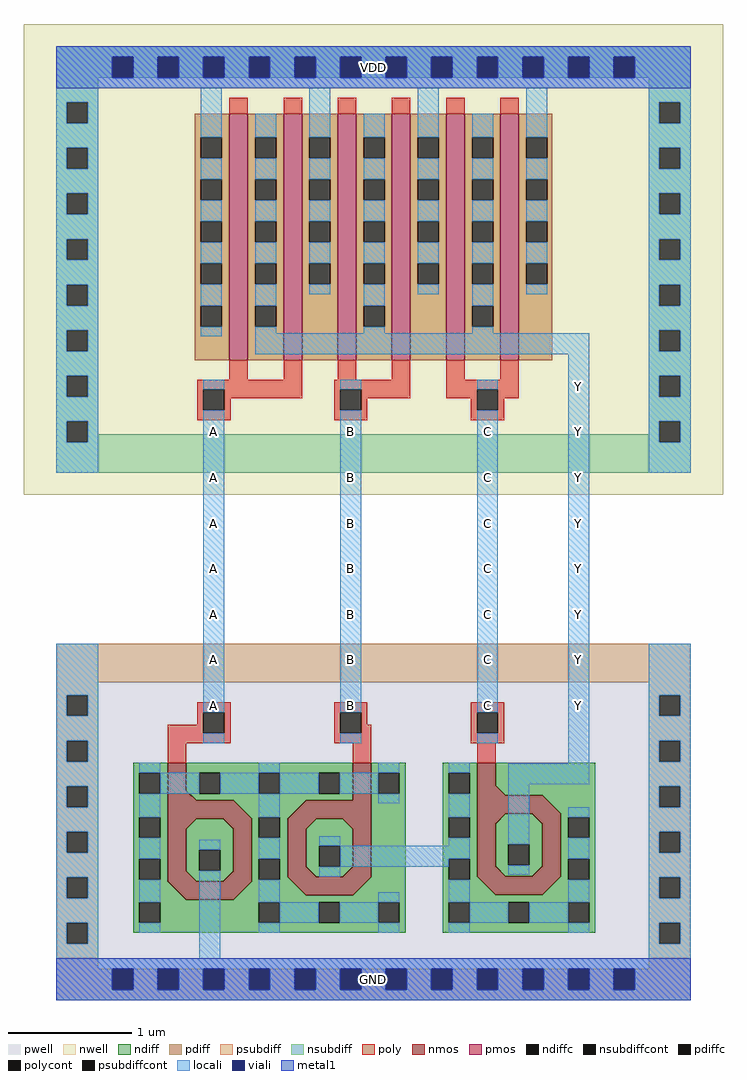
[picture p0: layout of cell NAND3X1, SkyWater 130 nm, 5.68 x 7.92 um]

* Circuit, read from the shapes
.subckt NAND3X1 Y A B C VDD GND
XM1 n1 A GND GND sky130_fd_pr__nfet_01v8 w=2.6 l=0.1488
XM2 n1 B n2 GND sky130_fd_pr__nfet_01v8 w=2.52 l=0.1474
XM3 n2 C Y GND sky130_fd_pr__nfet_01v8 w=2.56 l=0.1468
XM4 Y A VDD VDD sky130_fd_pr__pfet_01v8 w=2 l=0.15 m=2
XM5 Y B VDD VDD sky130_fd_pr__pfet_01v8 w=2 l=0.15 m=2
XM6 Y C VDD VDD sky130_fd_pr__pfet_01v8 w=2 l=0.15 m=2
.ends

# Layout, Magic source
magic
tech sky130A
magscale 1 2
<< nwell >>
rect -87 786 1049 1550
<< pwell >>
rect -34 -34 996 544
<< nmos >>
rect 147 290 177 351
tri 177 290 193 306 sw
rect 447 290 477 351
rect 147 260 253 290
tri 253 260 283 290 sw
rect 147 159 177 260
tri 177 244 193 260 nw
tri 237 244 253 260 ne
tri 177 159 193 175 sw
tri 237 159 253 175 se
rect 253 159 283 260
tri 342 260 372 290 se
rect 372 260 477 290
rect 342 166 372 260
tri 372 244 388 260 nw
tri 431 244 447 260 ne
tri 372 166 388 182 sw
tri 431 166 447 182 se
rect 447 166 477 260
tri 147 129 177 159 ne
rect 177 129 253 159
tri 253 129 283 159 nw
tri 342 136 372 166 ne
rect 372 136 447 166
tri 447 136 477 166 nw
rect 649 298 679 351
tri 679 298 695 314 sw
rect 649 268 755 298
tri 755 268 785 298 sw
rect 649 167 679 268
tri 679 252 695 268 nw
tri 739 252 755 268 ne
tri 679 167 695 183 sw
tri 739 167 755 183 se
rect 755 167 785 268
tri 649 137 679 167 ne
rect 679 137 755 167
tri 755 137 785 167 nw
<< pmos >>
rect 247 1004 277 1404
rect 335 1004 365 1404
rect 423 1004 453 1404
rect 511 1004 541 1404
rect 599 1004 629 1404
rect 687 1004 717 1404
<< ndiff >>
rect 91 335 147 351
rect 91 301 101 335
rect 135 301 147 335
rect 91 263 147 301
rect 177 335 447 351
rect 177 306 198 335
tri 177 290 193 306 ne
rect 193 301 198 306
rect 232 301 295 335
rect 329 301 392 335
rect 426 301 447 335
rect 193 290 447 301
rect 477 335 533 351
rect 477 301 489 335
rect 523 301 533 335
rect 91 229 101 263
rect 135 229 147 263
tri 253 260 283 290 ne
rect 283 263 342 290
rect 91 195 147 229
rect 91 161 101 195
rect 135 161 147 195
rect 91 129 147 161
tri 177 244 193 260 se
rect 193 244 237 260
tri 237 244 253 260 sw
rect 177 210 253 244
rect 177 176 198 210
rect 232 176 253 210
rect 177 175 253 176
tri 177 159 193 175 ne
rect 193 159 237 175
tri 237 159 253 175 nw
rect 283 229 295 263
rect 329 229 342 263
tri 342 260 372 290 nw
rect 283 195 342 229
rect 283 161 295 195
rect 329 161 342 195
tri 372 244 388 260 se
rect 388 244 431 260
tri 431 244 447 260 sw
rect 372 216 447 244
rect 372 182 393 216
rect 427 182 447 216
tri 372 166 388 182 ne
rect 388 166 431 182
tri 431 166 447 182 nw
tri 147 129 177 159 sw
tri 253 129 283 159 se
rect 283 136 342 161
tri 342 136 372 166 sw
tri 447 136 477 166 se
rect 477 136 533 301
rect 283 129 533 136
rect 91 125 533 129
rect 91 91 101 125
rect 135 91 295 125
rect 329 91 392 125
rect 426 91 489 125
rect 523 91 533 125
rect 91 75 533 91
rect 593 335 649 351
rect 593 301 603 335
rect 637 301 649 335
rect 593 263 649 301
rect 679 314 841 351
tri 679 298 695 314 ne
rect 695 298 841 314
tri 755 268 785 298 ne
rect 593 229 603 263
rect 637 229 649 263
rect 593 195 649 229
rect 593 161 603 195
rect 637 161 649 195
tri 679 252 695 268 se
rect 695 252 739 268
tri 739 252 755 268 sw
rect 679 219 755 252
rect 679 185 700 219
rect 734 185 755 219
rect 679 183 755 185
tri 679 167 695 183 ne
rect 695 167 739 183
tri 739 167 755 183 nw
rect 785 263 841 298
rect 785 229 797 263
rect 831 229 841 263
rect 785 195 841 229
rect 593 137 649 161
tri 649 137 679 167 sw
tri 755 137 785 167 se
rect 785 161 797 195
rect 831 161 841 195
rect 785 137 841 161
rect 593 125 841 137
rect 593 91 603 125
rect 637 91 700 125
rect 734 91 797 125
rect 831 91 841 125
rect 593 75 841 91
<< pdiff >>
rect 191 1366 247 1404
rect 191 1332 201 1366
rect 235 1332 247 1366
rect 191 1298 247 1332
rect 191 1264 201 1298
rect 235 1264 247 1298
rect 191 1230 247 1264
rect 191 1196 201 1230
rect 235 1196 247 1230
rect 191 1162 247 1196
rect 191 1128 201 1162
rect 235 1128 247 1162
rect 191 1093 247 1128
rect 191 1059 201 1093
rect 235 1059 247 1093
rect 191 1004 247 1059
rect 277 1366 335 1404
rect 277 1332 289 1366
rect 323 1332 335 1366
rect 277 1298 335 1332
rect 277 1264 289 1298
rect 323 1264 335 1298
rect 277 1230 335 1264
rect 277 1196 289 1230
rect 323 1196 335 1230
rect 277 1162 335 1196
rect 277 1128 289 1162
rect 323 1128 335 1162
rect 277 1093 335 1128
rect 277 1059 289 1093
rect 323 1059 335 1093
rect 277 1004 335 1059
rect 365 1366 423 1404
rect 365 1332 377 1366
rect 411 1332 423 1366
rect 365 1298 423 1332
rect 365 1264 377 1298
rect 411 1264 423 1298
rect 365 1230 423 1264
rect 365 1196 377 1230
rect 411 1196 423 1230
rect 365 1162 423 1196
rect 365 1128 377 1162
rect 411 1128 423 1162
rect 365 1004 423 1128
rect 453 1366 511 1404
rect 453 1332 465 1366
rect 499 1332 511 1366
rect 453 1298 511 1332
rect 453 1264 465 1298
rect 499 1264 511 1298
rect 453 1230 511 1264
rect 453 1196 465 1230
rect 499 1196 511 1230
rect 453 1162 511 1196
rect 453 1128 465 1162
rect 499 1128 511 1162
rect 453 1093 511 1128
rect 453 1059 465 1093
rect 499 1059 511 1093
rect 453 1004 511 1059
rect 541 1366 599 1404
rect 541 1332 553 1366
rect 587 1332 599 1366
rect 541 1298 599 1332
rect 541 1264 553 1298
rect 587 1264 599 1298
rect 541 1230 599 1264
rect 541 1196 553 1230
rect 587 1196 599 1230
rect 541 1162 599 1196
rect 541 1128 553 1162
rect 587 1128 599 1162
rect 541 1004 599 1128
rect 629 1366 687 1404
rect 629 1332 641 1366
rect 675 1332 687 1366
rect 629 1298 687 1332
rect 629 1264 641 1298
rect 675 1264 687 1298
rect 629 1230 687 1264
rect 629 1196 641 1230
rect 675 1196 687 1230
rect 629 1162 687 1196
rect 629 1128 641 1162
rect 675 1128 687 1162
rect 629 1093 687 1128
rect 629 1059 641 1093
rect 675 1059 687 1093
rect 629 1004 687 1059
rect 717 1366 771 1404
rect 717 1332 729 1366
rect 763 1332 771 1366
rect 717 1298 771 1332
rect 717 1264 729 1298
rect 763 1264 771 1298
rect 717 1230 771 1264
rect 717 1196 729 1230
rect 763 1196 771 1230
rect 717 1162 771 1196
rect 717 1128 729 1162
rect 763 1128 771 1162
rect 717 1004 771 1128
<< ndiffc >>
rect 101 301 135 335
rect 198 301 232 335
rect 295 301 329 335
rect 392 301 426 335
rect 489 301 523 335
rect 101 229 135 263
rect 101 161 135 195
rect 198 176 232 210
rect 295 229 329 263
rect 295 161 329 195
rect 393 182 427 216
rect 101 91 135 125
rect 295 91 329 125
rect 392 91 426 125
rect 489 91 523 125
rect 603 301 637 335
rect 603 229 637 263
rect 603 161 637 195
rect 700 185 734 219
rect 797 229 831 263
rect 797 161 831 195
rect 603 91 637 125
rect 700 91 734 125
rect 797 91 831 125
<< pdiffc >>
rect 201 1332 235 1366
rect 201 1264 235 1298
rect 201 1196 235 1230
rect 201 1128 235 1162
rect 201 1059 235 1093
rect 289 1332 323 1366
rect 289 1264 323 1298
rect 289 1196 323 1230
rect 289 1128 323 1162
rect 289 1059 323 1093
rect 377 1332 411 1366
rect 377 1264 411 1298
rect 377 1196 411 1230
rect 377 1128 411 1162
rect 465 1332 499 1366
rect 465 1264 499 1298
rect 465 1196 499 1230
rect 465 1128 499 1162
rect 465 1059 499 1093
rect 553 1332 587 1366
rect 553 1264 587 1298
rect 553 1196 587 1230
rect 553 1128 587 1162
rect 641 1332 675 1366
rect 641 1264 675 1298
rect 641 1196 675 1230
rect 641 1128 675 1162
rect 641 1059 675 1093
rect 729 1332 763 1366
rect 729 1264 763 1298
rect 729 1196 763 1230
rect 729 1128 763 1162
<< psubdiff >>
rect -34 482 996 544
rect -34 461 34 482
rect -34 427 -17 461
rect 17 427 34 461
rect 928 461 996 482
rect -34 387 34 427
rect -34 353 -17 387
rect 17 353 34 387
rect -34 313 34 353
rect 928 427 945 461
rect 979 427 996 461
rect 928 387 996 427
rect 928 353 945 387
rect 979 353 996 387
rect -34 279 -17 313
rect 17 279 34 313
rect -34 239 34 279
rect -34 205 -17 239
rect 17 205 34 239
rect -34 165 34 205
rect -34 131 -17 165
rect 17 131 34 165
rect -34 91 34 131
rect -34 57 -17 91
rect 17 57 34 91
rect 928 313 996 353
rect 928 279 945 313
rect 979 279 996 313
rect 928 239 996 279
rect 928 205 945 239
rect 979 205 996 239
rect 928 165 996 205
rect 928 131 945 165
rect 979 131 996 165
rect 928 91 996 131
rect -34 17 34 57
rect 928 57 945 91
rect 979 57 996 91
rect 928 17 996 57
rect -34 -17 57 17
rect 91 -17 131 17
rect 165 -17 205 17
rect 239 -17 279 17
rect 313 -17 353 17
rect 387 -17 427 17
rect 461 -17 501 17
rect 535 -17 575 17
rect 609 -17 649 17
rect 683 -17 723 17
rect 757 -17 797 17
rect 831 -17 871 17
rect 905 -17 996 17
rect -34 -34 996 -17
<< nsubdiff >>
rect -34 1497 996 1514
rect -34 1463 57 1497
rect 91 1463 131 1497
rect 165 1463 205 1497
rect 239 1463 279 1497
rect 313 1463 353 1497
rect 387 1463 427 1497
rect 461 1463 501 1497
rect 535 1463 575 1497
rect 609 1463 649 1497
rect 683 1463 723 1497
rect 757 1463 797 1497
rect 831 1463 871 1497
rect 905 1463 996 1497
rect -34 1423 34 1463
rect -34 1389 -17 1423
rect 17 1389 34 1423
rect 928 1423 996 1463
rect -34 1349 34 1389
rect -34 1315 -17 1349
rect 17 1315 34 1349
rect -34 1275 34 1315
rect -34 1241 -17 1275
rect 17 1241 34 1275
rect -34 1201 34 1241
rect -34 1167 -17 1201
rect 17 1167 34 1201
rect -34 1127 34 1167
rect -34 1093 -17 1127
rect 17 1093 34 1127
rect -34 1053 34 1093
rect -34 1019 -17 1053
rect 17 1019 34 1053
rect -34 979 34 1019
rect 928 1389 945 1423
rect 979 1389 996 1423
rect 928 1349 996 1389
rect 928 1315 945 1349
rect 979 1315 996 1349
rect 928 1275 996 1315
rect 928 1241 945 1275
rect 979 1241 996 1275
rect 928 1201 996 1241
rect 928 1167 945 1201
rect 979 1167 996 1201
rect 928 1127 996 1167
rect 928 1093 945 1127
rect 979 1093 996 1127
rect 928 1053 996 1093
rect 928 1019 945 1053
rect 979 1019 996 1053
rect -34 945 -17 979
rect 17 945 34 979
rect -34 905 34 945
rect 928 979 996 1019
rect 928 945 945 979
rect 979 945 996 979
rect -34 871 -17 905
rect 17 884 34 905
rect 928 905 996 945
rect 928 884 945 905
rect 17 871 945 884
rect 979 871 996 905
rect -34 822 996 871
<< psubdiffcont >>
rect -17 427 17 461
rect -17 353 17 387
rect 945 427 979 461
rect 945 353 979 387
rect -17 279 17 313
rect -17 205 17 239
rect -17 131 17 165
rect -17 57 17 91
rect 945 279 979 313
rect 945 205 979 239
rect 945 131 979 165
rect 945 57 979 91
rect 57 -17 91 17
rect 131 -17 165 17
rect 205 -17 239 17
rect 279 -17 313 17
rect 353 -17 387 17
rect 427 -17 461 17
rect 501 -17 535 17
rect 575 -17 609 17
rect 649 -17 683 17
rect 723 -17 757 17
rect 797 -17 831 17
rect 871 -17 905 17
<< nsubdiffcont >>
rect 57 1463 91 1497
rect 131 1463 165 1497
rect 205 1463 239 1497
rect 279 1463 313 1497
rect 353 1463 387 1497
rect 427 1463 461 1497
rect 501 1463 535 1497
rect 575 1463 609 1497
rect 649 1463 683 1497
rect 723 1463 757 1497
rect 797 1463 831 1497
rect 871 1463 905 1497
rect -17 1389 17 1423
rect -17 1315 17 1349
rect -17 1241 17 1275
rect -17 1167 17 1201
rect -17 1093 17 1127
rect -17 1019 17 1053
rect 945 1389 979 1423
rect 945 1315 979 1349
rect 945 1241 979 1275
rect 945 1167 979 1201
rect 945 1093 979 1127
rect 945 1019 979 1053
rect -17 945 17 979
rect 945 945 979 979
rect -17 871 17 905
rect 945 871 979 905
<< poly >>
rect 247 1404 277 1430
rect 335 1404 365 1430
rect 423 1404 453 1430
rect 511 1404 541 1430
rect 599 1404 629 1430
rect 687 1404 717 1430
rect 247 973 277 1004
rect 335 973 365 1004
rect 423 973 453 1004
rect 511 973 541 1004
rect 195 957 365 973
rect 195 923 205 957
rect 239 943 365 957
rect 417 957 541 973
rect 239 923 249 943
rect 195 907 249 923
rect 417 923 427 957
rect 461 943 541 957
rect 599 973 629 1004
rect 687 973 717 1004
rect 599 957 717 973
rect 599 943 649 957
rect 461 923 471 943
rect 417 907 471 923
rect 639 923 649 943
rect 683 943 717 957
rect 683 923 693 943
rect 639 907 693 923
rect 195 433 249 449
rect 195 413 205 433
rect 147 399 205 413
rect 239 399 249 433
rect 147 383 249 399
rect 417 433 471 449
rect 417 399 427 433
rect 461 413 471 433
rect 639 433 693 449
rect 461 399 477 413
rect 417 383 477 399
rect 639 399 649 433
rect 683 399 693 433
rect 639 383 693 399
rect 147 351 177 383
rect 447 351 477 383
rect 649 351 679 383
<< polycont >>
rect 205 923 239 957
rect 427 923 461 957
rect 649 923 683 957
rect 205 399 239 433
rect 427 399 461 433
rect 649 399 683 433
<< locali >>
rect -34 1497 996 1514
rect -34 1463 57 1497
rect 91 1463 131 1497
rect 165 1463 205 1497
rect 239 1463 279 1497
rect 313 1463 353 1497
rect 387 1463 427 1497
rect 461 1463 501 1497
rect 535 1463 575 1497
rect 609 1463 649 1497
rect 683 1463 723 1497
rect 757 1463 797 1497
rect 831 1463 871 1497
rect 905 1463 996 1497
rect -34 1446 996 1463
rect -34 1423 34 1446
rect -34 1389 -17 1423
rect 17 1389 34 1423
rect -34 1349 34 1389
rect -34 1315 -17 1349
rect 17 1315 34 1349
rect -34 1275 34 1315
rect -34 1241 -17 1275
rect 17 1241 34 1275
rect -34 1201 34 1241
rect -34 1167 -17 1201
rect 17 1167 34 1201
rect -34 1127 34 1167
rect -34 1093 -17 1127
rect 17 1093 34 1127
rect -34 1053 34 1093
rect -34 1019 -17 1053
rect 17 1019 34 1053
rect 201 1366 235 1446
rect 201 1298 235 1332
rect 201 1230 235 1264
rect 201 1162 235 1196
rect 201 1093 235 1128
rect 201 1043 235 1059
rect 289 1366 323 1404
rect 289 1298 323 1332
rect 289 1230 323 1264
rect 289 1162 323 1196
rect 289 1093 323 1128
rect 377 1366 411 1446
rect 377 1298 411 1332
rect 377 1230 411 1264
rect 377 1162 411 1196
rect 377 1111 411 1128
rect 465 1366 499 1404
rect 465 1298 499 1332
rect 465 1230 499 1264
rect 465 1162 499 1196
rect 289 1048 323 1059
rect 465 1093 499 1128
rect 553 1366 587 1446
rect 553 1298 587 1332
rect 553 1230 587 1264
rect 553 1162 587 1196
rect 553 1111 587 1128
rect 641 1366 675 1404
rect 641 1298 675 1332
rect 641 1230 675 1264
rect 641 1162 675 1196
rect 465 1048 499 1059
rect 641 1093 675 1128
rect 729 1366 763 1446
rect 729 1298 763 1332
rect 729 1230 763 1264
rect 729 1162 763 1196
rect 729 1111 763 1128
rect 928 1423 996 1446
rect 928 1389 945 1423
rect 979 1389 996 1423
rect 928 1349 996 1389
rect 928 1315 945 1349
rect 979 1315 996 1349
rect 928 1275 996 1315
rect 928 1241 945 1275
rect 979 1241 996 1275
rect 928 1201 996 1241
rect 928 1167 945 1201
rect 979 1167 996 1201
rect 928 1127 996 1167
rect 641 1048 675 1059
rect 928 1093 945 1127
rect 979 1093 996 1127
rect 928 1053 996 1093
rect -34 979 34 1019
rect 289 1014 831 1048
rect -34 945 -17 979
rect 17 945 34 979
rect -34 905 34 945
rect -34 871 -17 905
rect 17 871 34 905
rect -34 822 34 871
rect 205 957 239 973
rect -34 461 34 544
rect -34 427 -17 461
rect 17 427 34 461
rect -34 387 34 427
rect -34 353 -17 387
rect 17 353 34 387
rect 205 433 239 923
rect 205 383 239 399
rect 427 957 461 973
rect 427 433 461 923
rect 427 383 461 399
rect 649 957 683 973
rect 649 433 683 923
rect 649 383 683 399
rect -34 313 34 353
rect -34 279 -17 313
rect 17 279 34 313
rect -34 239 34 279
rect -34 205 -17 239
rect 17 205 34 239
rect -34 165 34 205
rect -34 131 -17 165
rect 17 131 34 165
rect -34 91 34 131
rect -34 57 -17 91
rect 17 57 34 91
rect 101 335 135 351
rect 295 335 329 351
rect 489 335 523 351
rect 135 301 198 335
rect 232 301 295 335
rect 329 301 392 335
rect 426 301 489 335
rect 101 263 135 301
rect 101 195 135 229
rect 295 263 329 301
rect 489 285 523 301
rect 603 335 637 351
rect 797 350 831 1014
rect 928 1019 945 1053
rect 979 1019 996 1053
rect 928 979 996 1019
rect 928 945 945 979
rect 979 945 996 979
rect 928 905 996 945
rect 928 871 945 905
rect 979 871 996 905
rect 928 822 996 871
rect 603 263 637 301
rect 101 125 135 161
rect 101 75 135 91
rect 198 210 232 226
rect -34 34 34 57
rect 198 34 232 176
rect 295 195 329 229
rect 393 216 427 232
rect 603 216 637 229
rect 427 195 637 216
rect 427 182 603 195
rect 393 166 427 182
rect 295 125 329 161
rect 700 316 831 350
rect 928 461 996 544
rect 928 427 945 461
rect 979 427 996 461
rect 928 387 996 427
rect 928 353 945 387
rect 979 353 996 387
rect 700 219 734 316
rect 928 313 996 353
rect 928 279 945 313
rect 979 279 996 313
rect 700 169 734 185
rect 797 263 831 279
rect 797 195 831 229
rect 489 125 523 141
rect 329 91 392 125
rect 426 91 489 125
rect 295 75 329 91
rect 489 75 523 91
rect 603 125 637 161
rect 797 125 831 161
rect 637 91 700 125
rect 734 91 797 125
rect 603 75 637 91
rect 797 75 831 91
rect 928 239 996 279
rect 928 205 945 239
rect 979 205 996 239
rect 928 165 996 205
rect 928 131 945 165
rect 979 131 996 165
rect 928 91 996 131
rect 928 57 945 91
rect 979 57 996 91
rect 928 34 996 57
rect -34 17 996 34
rect -34 -17 57 17
rect 91 -17 131 17
rect 165 -17 205 17
rect 239 -17 279 17
rect 313 -17 353 17
rect 387 -17 427 17
rect 461 -17 501 17
rect 535 -17 575 17
rect 609 -17 649 17
rect 683 -17 723 17
rect 757 -17 797 17
rect 831 -17 871 17
rect 905 -17 996 17
rect -34 -34 996 -17
<< viali >>
rect 57 1463 91 1497
rect 131 1463 165 1497
rect 205 1463 239 1497
rect 279 1463 313 1497
rect 353 1463 387 1497
rect 427 1463 461 1497
rect 501 1463 535 1497
rect 575 1463 609 1497
rect 649 1463 683 1497
rect 723 1463 757 1497
rect 797 1463 831 1497
rect 871 1463 905 1497
rect 57 -17 91 17
rect 131 -17 165 17
rect 205 -17 239 17
rect 279 -17 313 17
rect 353 -17 387 17
rect 427 -17 461 17
rect 501 -17 535 17
rect 575 -17 609 17
rect 649 -17 683 17
rect 723 -17 757 17
rect 797 -17 831 17
rect 871 -17 905 17
<< metal1 >>
rect -34 1497 996 1514
rect -34 1463 57 1497
rect 91 1463 131 1497
rect 165 1463 205 1497
rect 239 1463 279 1497
rect 313 1463 353 1497
rect 387 1463 427 1497
rect 461 1463 501 1497
rect 535 1463 575 1497
rect 609 1463 649 1497
rect 683 1463 723 1497
rect 757 1463 797 1497
rect 831 1463 871 1497
rect 905 1463 996 1497
rect -34 1446 996 1463
rect -34 17 996 34
rect -34 -17 57 17
rect 91 -17 131 17
rect 165 -17 205 17
rect 239 -17 279 17
rect 313 -17 353 17
rect 387 -17 427 17
rect 461 -17 501 17
rect 535 -17 575 17
rect 609 -17 649 17
rect 683 -17 723 17
rect 757 -17 797 17
rect 831 -17 871 17
rect 905 -17 996 17
rect -34 -34 996 -17
<< labels >>
rlabel locali 797 427 831 461 1 Y
port 1 nsew signal output
rlabel locali 797 501 831 535 1 Y
port 1 nsew signal output
rlabel locali 797 575 831 609 1 Y
port 1 nsew signal output
rlabel locali 797 649 831 683 1 Y
port 1 nsew signal output
rlabel locali 797 723 831 757 1 Y
port 1 nsew signal output
rlabel locali 797 871 831 905 1 Y
port 1 nsew signal output
rlabel locali 797 945 831 979 1 Y
port 1 nsew signal output
rlabel locali 797 797 831 831 1 Y
port 1 nsew signal output
rlabel locali 205 575 239 609 1 A
port 2 nsew signal input
rlabel locali 205 501 239 535 1 A
port 2 nsew signal input
rlabel locali 205 427 239 461 1 A
port 2 nsew signal input
rlabel locali 205 649 239 683 1 A
port 2 nsew signal input
rlabel locali 205 723 239 757 1 A
port 2 nsew signal input
rlabel locali 205 797 239 831 1 A
port 2 nsew signal input
rlabel locali 205 871 239 905 1 A
port 2 nsew signal input
rlabel locali 427 649 461 683 1 B
port 3 nsew signal input
rlabel locali 427 723 461 757 1 B
port 3 nsew signal input
rlabel locali 427 797 461 831 1 B
port 3 nsew signal input
rlabel locali 427 871 461 905 1 B
port 3 nsew signal input
rlabel locali 427 575 461 609 1 B
port 3 nsew signal input
rlabel locali 427 501 461 535 1 B
port 3 nsew signal input
rlabel locali 427 427 461 461 1 B
port 3 nsew signal input
rlabel locali 649 575 683 609 1 C
port 4 nsew signal input
rlabel locali 649 501 683 535 1 C
port 4 nsew signal input
rlabel locali 649 427 683 461 1 C
port 4 nsew signal input
rlabel locali 649 649 683 683 1 C
port 4 nsew signal input
rlabel locali 649 723 683 757 1 C
port 4 nsew signal input
rlabel locali 649 797 683 831 1 C
port 4 nsew signal input
rlabel locali 649 871 683 905 1 C
port 4 nsew signal input
rlabel metal1 -34 1446 996 1514 1 VDD
port 5 nsew power bidirectional abutment
rlabel metal1 -34 -34 996 34 1 GND
port 6 nsew ground bidirectional abutment
<< end >>
